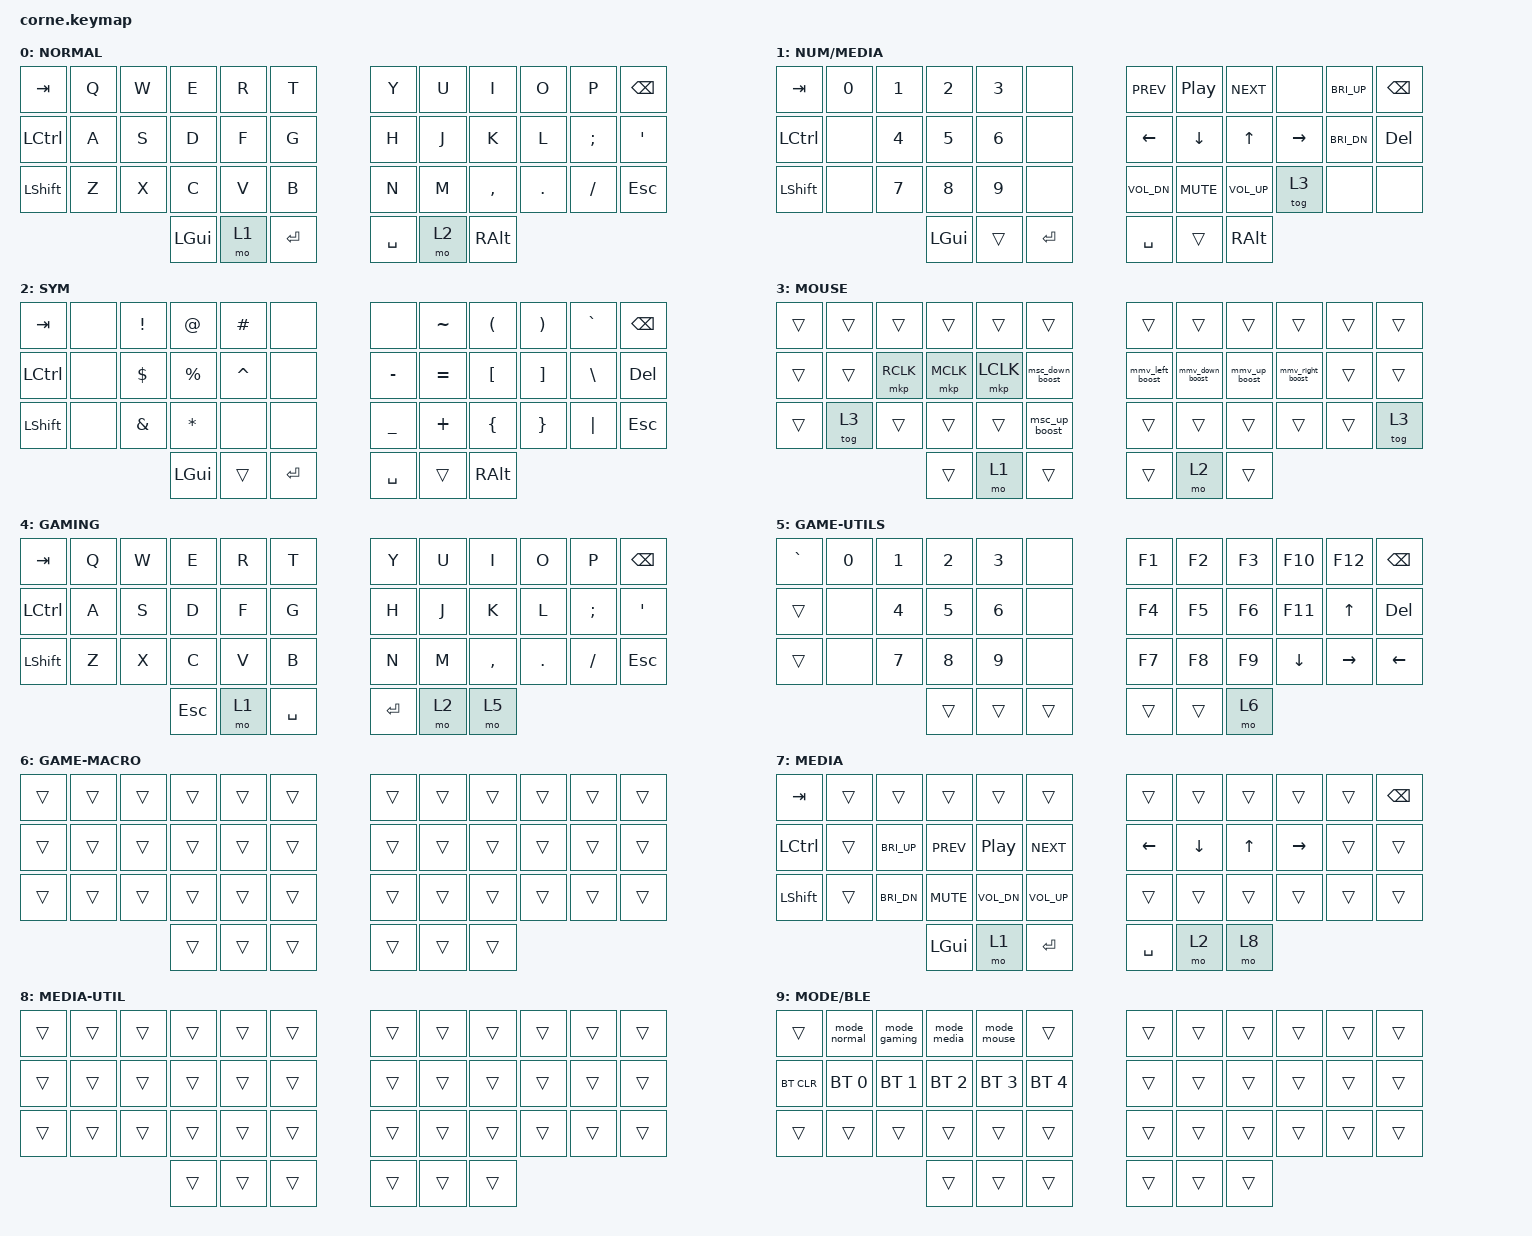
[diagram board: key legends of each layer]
/*
* Copyright (c) 2020 The ZMK Contributors
*
* SPDX-License-Identifier: MIT
*/

#include <behaviors.dtsi>
#include <dt-bindings/zmk/keys.h>
#include <dt-bindings/zmk/bt.h>

// #define ZMK_POINTING_DEFAULT_MOVE_VAL 1500  // default: 600
// #define ZMK_POINTING_DEFAULT_SCRL_VAL 20    // default: 10

#include <dt-bindings/zmk/pointing.h>

/ {
        /* Mouse movement/scroll speed values */
#define DEFAULT_MOVE_VAL 800  // pixels per tick (normal speed)
#define DEFAULT_SCRL_VAL 10   // lines per tick (normal speed)

#define FAST_MOVE_VAL 1500    // pixels per tick (Shift held)
#define FAST_SCRL_VAL 20      // lines per tick (Shift held)

        /* Layer macros - organized by layer number (0-9) */
        macros {
                // Layer 0: Default (NORMAL mode)
                mode_normal: mode_normal {
                        compatible = "zmk,behavior-macro";
                        #binding-cells = <0>;
                        bindings = <&to 0>;
                };

                        // Layer 1: Lower (NORMAL sublayer)
                        lower_macro: lower_macro {
                                compatible = "zmk,behavior-macro";
                                #binding-cells = <0>;
                                bindings = <&to 1>;
                        };

                        // Layer 2: Raise (NORMAL sublayer)
                        raise_macro: raise_macro {
                                compatible = "zmk,behavior-macro";
                                #binding-cells = <0>;
                                bindings = <&to 2>;
                        };

                // Layer 3: Mouse (MOUSE mode)
                mode_mouse: mode_mouse {
                        compatible = "zmk,behavior-macro";
                        #binding-cells = <0>;
                        bindings = <&to 3>;
                };

                // Layer 4: Gaming (GAMING mode)
                mode_gaming: mode_gaming {
                        compatible = "zmk,behavior-macro";
                        #binding-cells = <0>;
                        bindings = <&to 4>;
                };

                        // Layer 5: Gaming utils (GAMING sublayer)
                        gaming_util_macro: gaming_util_macro {
                                compatible = "zmk,behavior-macro";
                                #binding-cells = <0>;
                                bindings = <&to 5>;
                        };

                        // Layer 6: Gaming macros (GAMING sublayer)
                        gaming_macro_macro: gaming_macro_macro {
                                compatible = "zmk,behavior-macro";
                                #binding-cells = <0>;
                                bindings = <&to 6>;
                        };

                // Layer 7: Media (MEDIA mode)
                mode_media: mode_media {
                        compatible = "zmk,behavior-macro";
                        #binding-cells = <0>;
                        bindings = <&to 7>;
                };

                        // Layer 8: Media utils (MEDIA sublayer)
                        media_util_macro: media_util_macro {
                                compatible = "zmk,behavior-macro";
                                #binding-cells = <0>;
                                bindings = <&to 8>;
                        };

                // Layer 9: Mode select
                mode_select_macro: mode_select_macro {
                        compatible = "zmk,behavior-macro";
                        #binding-cells = <0>;
                        bindings = <&to 9>;
                };
        };
};

/ {
        keymap {
                compatible = "zmk,keymap";

                // ═════════════════════════════════════════════════════════════════════════════════════
                // NORMAL MODE: Layers 0-2
                // ═════════════════════════════════════════════════════════════════════════════════════

                default_layer {
                        display-name = "NORMAL";
                        // -----------------------------------------------------------------------------------------
                        // |  TAB |  Q  |  W  |  E  |  R  |  T  |---|  Y  |  U   |  I  |  O  |  P  | BSPC |
                        // | CTRL |  A  |  S  |  D  |  F  |  G  |---|  H  |  J   |  K  |  L  |  ;  |  '   |
                        // | SHFT |  Z  |  X  |  C  |  V  |  B  |---|  N  |  M   |  ,  |  .  |  /  | ESC  |
                        //                    | GUI | LWR | RET |---| SPC | RSE  | ALT |
                        bindings = <
                &kp TAB   &kp Q &kp W &kp E    &kp R &kp T       &kp Y     &kp U  &kp I     &kp O   &kp P    &kp BSPC
                &kp LCTRL &kp A &kp S &kp D    &kp F &kp G       &kp H     &kp J  &kp K     &kp L   &kp SEMI &kp SQT
                &kp LSHFT &kp Z &kp X &kp C    &kp V &kp B       &kp N     &kp M  &kp COMMA &kp DOT &kp FSLH &kp ESC
                                      &kp LGUI &mo 1 &kp RET     &kp SPACE &mo 2  &kp RALT
                        >;
                };

                // ─────────────────────────────────────────────────────────────────────────────
                // NORMAL MODE - Sublayer: Lower (Numbers/Media)
                // ─────────────────────────────────────────────────────────────────────────────

                lower_layer {
                        display-name = "NUM/MEDIA";
                        // -----------------------------------------------------------------------------------------
                        // |  TAB |  0  |  1  |  2  |  3  |     |---| PREV| PLAY| NEXT|     |BRIUP| BSPC |
                        // | CTRL |     |  4  |  5  |  6  |     |---| LFT | DWN |  UP | RGT |BRIDN| DEL  |
                        // | SHFT |     |  7  |  8  |  9  |     |---| VOL-| MUTE| VOL+|MOUSE|     |      |
                        //                    | GUI |     | RET |---| SPC | BLE | ALT |
                        bindings = <
                &kp TAB   &kp N0   &kp N1    &kp N2    &kp N3  &none      &kp C_PREV   &kp C_PP   &kp C_NEXT &none     &kp C_BRI_UP  &kp BSPC
                &kp LCTRL &none    &kp N4    &kp N5    &kp N6  &none      &kp LEFT     &kp DOWN   &kp UP     &kp RIGHT &kp C_BRI_DN  &kp DEL
                &kp LSHFT &none    &kp N7    &kp N8    &kp N9  &none      &kp C_VOL_DN &kp C_MUTE &kp C_VOL_UP &tog 3  &none         &none
                                             &kp LGUI  &trans  &kp RET    &kp SPACE    &trans     &kp RALT
                        >;
                };

                // ─────────────────────────────────────────────────────────────────────────────
                // NORMAL MODE - Sublayer: Raise (Symbols)
                // ─────────────────────────────────────────────────────────────────────────────

                raise_layer {
                        display-name = "SYM";
                        // -----------------------------------------------------------------------------------------
                        // |  TAB |     |  !  |  @  |  #  |     |---|     |  ~  |  (  |  )  |  `  | BSPC |
                        // | CTRL |     |  $  |  %  |  ^  |     |---|  -  |  =  |  [  |  ]  |  \  | DEL  |
                        // | SHFT |     |  &  |  *  |     |     |---|  _  |  +  |  {  |  }  |  |  | ESC  |
                        //                    | GUI |     | RET |---| SPC |     | ALT |
                        bindings = <
                &kp TAB     &none   &kp EXCL &kp AT      &kp HASH  &none       &none     &kp TILDE &kp LPAR  &kp RPAR  &kp GRAVE  &kp BSPC
                &kp LCTRL   &none   &kp DLLR &kp PRCNT   &kp CARET &none       &kp MINUS &kp EQUAL &kp LBKT  &kp RBKT  &kp BSLH   &kp DEL
                &kp LSHFT   &none   &kp AMPS &kp ASTRK   &none     &none       &kp UNDER &kp PLUS  &kp LBRC  &kp RBRC  &kp PIPE   &kp ESC 
                                                         &kp LGUI  &trans    &kp RET     &kp SPACE &trans    &kp RALT
                        >;
                };

                // ═════════════════════════════════════════════════════════════════════════════════════
                // MOUSE MODE: Layer 3
                // ════════════════════════════════════════════════════════════════════════════════════

                mouse_layer {
                        display-name = "MOUSE";
                        // -----------------------------------------------------------------------------------------
                        // Hold Shift: faster move/scroll (boost behaviors)
                        // Lower+Raise preserved for mode switching
                        // -----------------------------------------------------------------------------------------
                        // |      |     |     |     |     |     |   |     |     |     |     |      |      |
                        // |      |     | RCLK| MCLK| LCLK|SCRL↓|   |  ←  |  ↓  |  ↑  |  →  |      |      |
                        // |      | TOG3|     |     |     |SCRL↑|   |     |     |     |     |      | TOG3 |
                        //                    |     | LWR |     |   |     | RSE |     |
                        bindings = <
                &trans    &trans &trans    &trans    &trans    &trans              &trans          &trans              &trans        &trans           &trans &trans
                &trans    &trans &mkp RCLK &mkp MCLK &mkp LCLK &msc_down_boost     &mmv_left_boost &mmv_down_boost     &mmv_up_boost &mmv_right_boost &trans &trans
                &trans    &tog 3 &trans    &trans    &trans    &msc_up_boost       &trans          &trans              &trans        &trans           &trans &tog 3
                                           &trans    &mo 1     &trans              &trans          &mo 2               &trans
                        >;
                };

                // ═════════════════════════════════════════════════════════════════════════════════════
                // GAMING MODE: Layers 4-6
                // ═════════════════════════════════════════════════════════════════════════════════════

                gaming_layer {
                        display-name = "GAMING";
                        // -----------------------------------------------------------------------------------------
                        // Full QWERTY layout optimized for gaming
                        // Lower+Raise thumbs preserved for mode switching
                        // Right Alt accesses gaming utils (numbers/F-keys)
                        // -----------------------------------------------------------------------------------------
                        // | TAB  |  Q  |  W  |  E  |  R  |  T  |   |  Y  |  U  |  I  |  O  |  P  | BSPC |
                        // | CTRL |  A  |  S  |  D  |  F  |  G  |   |  H  |  J  |  K  |  L  |  ;  |  '   |
                        // | SHFT |  Z  |  X  |  C  |  V  |  B  |   |  N  |  M  |  ,  |  .  |  /  | ESC  |
                        //                    | ESC | LWR | SPC |   | ENT | RSE |UTILS|
                        bindings = <
                &kp TAB   &kp Q &kp W &kp E    &kp R &kp T       &kp Y   &kp U  &kp I     &kp O   &kp P    &kp BSPC
                &kp LCTRL &kp A &kp S &kp D    &kp F &kp G       &kp H   &kp J  &kp K     &kp L   &kp SEMI &kp SQT
                &kp LSHFT &kp Z &kp X &kp C    &kp V &kp B       &kp N   &kp M  &kp COMMA &kp DOT &kp FSLH &kp ESC
                                      &kp ESC  &mo 1 &kp SPACE   &kp RET &mo 2  &mo 5
                        >;
                };

                // ─────────────────────────────────────────────────────────────────────────────
                // GAMING MODE - Sublayer: Utils (Numpad/F-keys)
                // ─────────────────────────────────────────────────────────────────────────────

                gaming_util_layer {
                        display-name = "GAME-UTILS";
                        // -----------------------------------------------------------------------------------------
                        // Numpad on left, F-keys on YUIHJKNM, arrows on ,;./
                        // |  `   |  0  |  1  |  2  |  3  |     |---| F1  | F2  | F3  | F10 | F12 | BSPC |
                        // |      |     |  4  |  5  |  6  |     |---| F4  | F5  | F6  | F11 | UP  | DEL  |
                        // |      |     |  7  |  8  |  9  |     |---| F7  | F8  | F9  | DWN | RGT | LFT  |
                        //                    |     |HELD |     |---|     |HELD |MACROS|
                        bindings = <
                &kp GRAVE &kp N0 &kp N1 &kp N2 &kp N3 &none       &kp F1   &kp F2   &kp F3  &kp F10  &kp F12   &kp BSPC
                &trans    &none  &kp N4 &kp N5 &kp N6 &none       &kp F4   &kp F5   &kp F6  &kp F11  &kp UP    &kp DEL
                &trans    &none  &kp N7 &kp N8 &kp N9 &none       &kp F7   &kp F8   &kp F9  &kp DOWN &kp RIGHT &kp LEFT
                                        &trans &trans &trans      &trans   &trans   &mo 6
                        >;
                };

                // ─────────────────────────────────────────────────────────────────────────────
                // GAMING MODE - Sublayer: Macros (Custom game bindings)
                // ─────────────────────────────────────────────────────────────────────────────

                gaming_macro_layer {
                        display-name = "GAME-MACRO";
                        // -----------------------------------------------------------------------------------------
                        // Custom macro layer for game-specific bindings
                        // Use this for game-specific key combinations and macros
                        // -----------------------------------------------------------------------------------------
                        // |      |     |     |     |     |     |   |     |     |     |     |     |      |
                        // |      |     |     |     |     |     |   |     |     |     |     |     |      |
                        // |      |     |     |     |     |     |   |     |     |     |     |     |      |
                        //                    |     |     |     |   |     |     |HELD |
                        bindings = <
                &trans &trans &trans &trans &trans &trans      &trans &trans &trans &trans &trans &trans
                &trans &trans &trans &trans &trans &trans      &trans &trans &trans &trans &trans &trans
                &trans &trans &trans &trans &trans &trans      &trans &trans &trans &trans &trans &trans
                                     &trans &trans &trans      &trans &trans &trans
                        >;
                };

                // ═════════════════════════════════════════════════════════════════════════════════════
                // MEDIA MODE: Layers 7-8
                // ═════════════════════════════════════════════════════════════════════════════════════

                media_layer {
                        display-name = "MEDIA";
                        // -----------------------------------------------------------------------------------------
                        // Media controls focused layout
                        // Lower+Raise thumbs preserved for mode switching
                        // Right Alt accesses media utils
                        // -----------------------------------------------------------------------------------------
                        // | TAB  |     |     |     |     |     |   |     |     |     |     |     | BSPC |
                        // | CTRL |     |BRIUP| PREV| PLAY| NEXT|   | LFT | DWN | UP  | RGT |     |      |
                        // | SHFT |     |BRIDN| MUTE|VOL- |VOL+ |   |     |     |     |     |     |      |
                        //                    | GUI | LWR | ENT |   | SPC | RSE |UTILS|
                        bindings = <
                &kp TAB   &trans &trans       &trans     &trans       &trans          &trans   &trans   &trans &trans    &trans &kp BSPC
                &kp LCTRL &trans &kp C_BRI_UP &kp C_PREV &kp C_PP     &kp C_NEXT      &kp LEFT &kp DOWN &kp UP &kp RIGHT &trans &trans
                &kp LSHFT &trans &kp C_BRI_DN &kp C_MUTE &kp C_VOL_DN &kp C_VOL_UP    &trans   &trans   &trans &trans    &trans &trans
                                              &kp LGUI   &mo 1        &kp RET         &kp SPACE &mo 2   &mo 8
                        >;
                };

                // ─────────────────────────────────────────────────────────────────────────────
                // MEDIA MODE - Sublayer: Utils (Additional media controls)
                // ─────────────────────────────────────────────────────────────────────────────

                media_util_layer {
                        display-name = "MEDIA-UTIL";
                        // -----------------------------------------------------------------------------------------
                        // Additional media utilities
                        // -----------------------------------------------------------------------------------------
                        // |      |     |     |     |     |     |   |     |     |     |     |     |      |
                        // |      |     |     |     |     |     |   |     |     |     |     |     |      |
                        // |      |     |     |     |     |     |   |     |     |     |     |     |      |
                        //                    |     |HELD |     |   |     |HELD |     |
                        bindings = <
                &trans &trans &trans &trans &trans &trans      &trans &trans &trans &trans &trans &trans
                &trans &trans &trans &trans &trans &trans      &trans &trans &trans &trans &trans &trans
                &trans &trans &trans &trans &trans &trans      &trans &trans &trans &trans &trans &trans
                                     &trans &trans &trans      &trans &trans &trans
                        >;
                };

                // ═════════════════════════════════════════════════════════════════════════════════════
                // LAYER 9: MODE SELECTION / BLE
                // ═════════════════════════════════════════════════════════════════════════════════════

                mode_select_layer {
                        display-name = "MODE/BLE";
                        // -----------------------------------------------------------------------------------------
                        // Mode selection + Bluetooth - activated when Lower+Raise held together
                        // Top row: Q/W/E/F to switch modes, Middle row: BT controls
                        // -----------------------------------------------------------------------------------------
                        // |      |NORML|GAME |MEDIA|MOUSE|     |   |     |     |     |     |     |      |
                        // | BTCLR| BT1 | BT2 | BT3 | BT4 | BT5 |   |     |     |     |     |     |      |
                        // |      |     |     |     |     |     |   |     |     |     |     |     |      |
                        //                    |     |HELD |     |   |     |HELD |     |
                        bindings = <
                &trans     &mode_normal &mode_gaming &mode_media  &mode_mouse  &trans           &trans &trans &trans &trans &trans &trans
                &bt BT_CLR &bt BT_SEL 0 &bt BT_SEL 1 &bt BT_SEL 2 &bt BT_SEL 3 &bt BT_SEL 4     &trans &trans &trans &trans &trans &trans
                &trans     &trans       &trans       &trans       &trans       &trans           &trans &trans &trans &trans &trans &trans
                                                     &trans       &trans       &trans           &trans &trans &trans
                        >;
                };
        };

        /* Conditional layers - activates mode/BLE when lower+raise held */
        conditional_layers {
                compatible = "zmk,conditional-layers";
                lower_raise_mode_select {
                        if-layers = <1 2>;  // Lower and Raise
                        then-layer = <9>;   // Mode/BLE layer
                };
        };

        // Behaviors: Shift-to-boost mouse move/scroll in mouse layer
        behaviors {
                mmv_left_boost: mmv_left_boost {
                        compatible = "zmk,behavior-mod-morph";
                        #binding-cells = <0>;
                        mods = <(MOD_LSFT|MOD_RSFT)>;
                        bindings = <&mmv MOVE_X(-DEFAULT_MOVE_VAL)>, <&mmv MOVE_X(-FAST_MOVE_VAL)>;
                };
                mmv_right_boost: mmv_right_boost {
                        compatible = "zmk,behavior-mod-morph";
                        #binding-cells = <0>;
                        mods = <(MOD_LSFT|MOD_RSFT)>;
                        bindings = <&mmv MOVE_X(DEFAULT_MOVE_VAL)>, <&mmv MOVE_X(FAST_MOVE_VAL)>;
                };
                mmv_up_boost: mmv_up_boost {
                        compatible = "zmk,behavior-mod-morph";
                        #binding-cells = <0>;
                        mods = <(MOD_LSFT|MOD_RSFT)>;
                        bindings = <&mmv MOVE_Y(-DEFAULT_MOVE_VAL)>, <&mmv MOVE_Y(-FAST_MOVE_VAL)>;
                };
                mmv_down_boost: mmv_down_boost {
                        compatible = "zmk,behavior-mod-morph";
                        #binding-cells = <0>;
                        mods = <(MOD_LSFT|MOD_RSFT)>;
                        bindings = <&mmv MOVE_Y(DEFAULT_MOVE_VAL)>, <&mmv MOVE_Y(FAST_MOVE_VAL)>;
                };

                msc_up_boost: msc_up_boost {
                        compatible = "zmk,behavior-mod-morph";
                        #binding-cells = <0>;
                        mods = <(MOD_LSFT|MOD_RSFT)>;
                        // Wheel Y (0x08): default speed, boosted speed
                        bindings = <&msc (((0x08 << 16) | ((-DEFAULT_SCRL_VAL) & 0xFFFF)))>, <&msc (((0x08 << 16) | ((-FAST_SCRL_VAL) & 0xFFFF)))>;
                };
                msc_down_boost: msc_down_boost {
                        compatible = "zmk,behavior-mod-morph";
                        #binding-cells = <0>;
                        mods = <(MOD_LSFT|MOD_RSFT)>;
                        // Wheel Y (0x08): default speed, boosted speed
                        bindings = <&msc (((0x08 << 16) | ((DEFAULT_SCRL_VAL) & 0xFFFF)))>, <&msc (((0x08 << 16) | ((FAST_SCRL_VAL) & 0xFFFF)))>;
                };
        };

        /* Add Nyan widget node here so it is always included via keymap overlay */
        nyan_right: nyan_right {
                compatible = "zmk,widget-nyan";
                status = "okay";
                x = <96>;
                y = <0>;
                frame-delay-ms = <100>;
                timeout-ms = <10000>; /* stop after 10s */
        };
};
